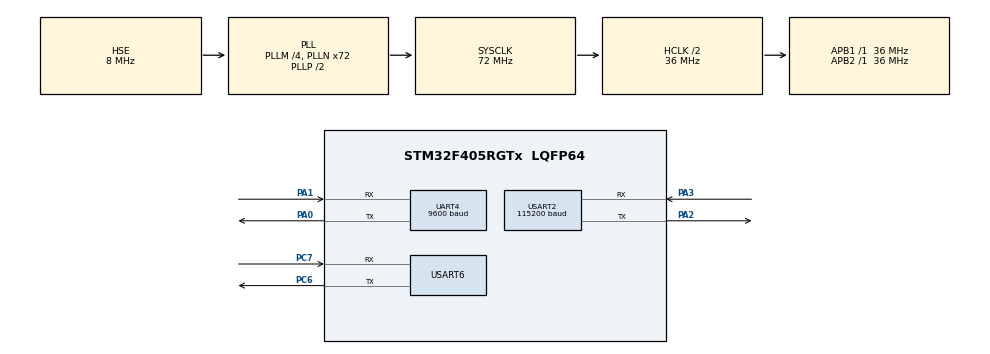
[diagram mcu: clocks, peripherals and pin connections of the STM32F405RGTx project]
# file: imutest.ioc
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FREERTOS.Tasks01=defaultTask,24,128,StartDefaultTask,Default,NULL,Dynamic,NULL,NULL;myTask02,8,256,MonitorTask02,As external,NULL,Dynamic,NULL,NULL
Mcu.Family=STM32F4
Mcu.Name=STM32F405RGTx
Mcu.Package=LQFP64
NVIC.PriorityGroup=NVIC_PRIORITYGROUP_4
NVIC.TIM5_IRQn=true\:6\:0\:true\:false\:true\:true\:true\:true\:true
NVIC.TIM7_IRQn=true\:15\:0\:false\:false\:true\:false\:false\:true\:true
NVIC.TimeBase=TIM7_IRQn
NVIC.TimeBaseIP=TIM7
NVIC.UART4_IRQn=true\:5\:0\:false\:false\:true\:true\:true\:true\:true
NVIC.USART2_IRQn=true\:5\:0\:true\:false\:true\:true\:true\:true\:true
NVIC.USART6_IRQn=true\:5\:0\:false\:false\:true\:true\:true\:true\:true
PA0-WKUP.Mode=Asynchronous
PA0-WKUP.Signal=UART4_TX
PA1.Mode=Asynchronous
PA1.Signal=UART4_RX
PA13.Mode=Serial_Wire
PA13.Signal=SYS_JTMS-SWDIO
PA14.Mode=Serial_Wire
PA14.Signal=SYS_JTCK-SWCLK
PA2.Mode=Asynchronous
PA2.Signal=USART2_TX
PA3.Mode=Asynchronous
PA3.Signal=USART2_RX
PC6.Mode=Asynchronous
PC6.Signal=USART6_TX
PC7.Mode=Asynchronous
PC7.Signal=USART6_RX
PH0-OSC_IN.Mode=HSE-External-Oscillator
PH0-OSC_IN.Signal=RCC_OSC_IN
PH1-OSC_OUT.Mode=HSE-External-Oscillator
PH1-OSC_OUT.Signal=RCC_OSC_OUT
ProjectManager.HeapSize=0x200
ProjectManager.StackSize=0x400
ProjectManager.TargetToolchain=MDK-ARM V5
RCC.48MHZClocksFreq_Value=36000000
RCC.AHBCLKDivider=RCC_SYSCLK_DIV2
RCC.AHBFreq_Value=36000000
RCC.APB1Freq_Value=36000000
RCC.APB1TimFreq_Value=36000000
RCC.APB2Freq_Value=36000000
RCC.APB2TimFreq_Value=36000000
RCC.CortexFreq_Value=36000000
RCC.HCLKFreq_Value=36000000
RCC.HSE_VALUE=8000000
RCC.HSI_VALUE=16000000
RCC.LSE_VALUE=32768
RCC.PLLM=4
RCC.PLLN=72
RCC.PLLSourceVirtual=RCC_PLLSOURCE_HSE
RCC.SYSCLKFreq_VALUE=72000000
RCC.SYSCLKSource=RCC_SYSCLKSOURCE_PLLCLK
RCC.VCOOutputFreq_Value=144000000
TIM5.AutoReloadPreload=TIM_AUTORELOAD_PRELOAD_ENABLE
TIM5.Period=4999
TIM5.Prescaler=35
TIM6.Prescaler=35
UART4.BaudRate=9600
UART4.VirtualMode=Asynchronous
USART2.BaudRate=115200
USART2.VirtualMode=VM_ASYNC
USART6.OverSampling=UART_OVERSAMPLING_8
USART6.VirtualMode=VM_ASYNC
VP_FREERTOS_VS_CMSIS_V2.Mode=CMSIS_V2
VP_SYS_VS_tim7.Mode=TIM7
VP_TIM5_VS_ClockSourceINT.Mode=Internal
VP_TIM6_VS_ClockSourceINT.Mode=Enable_Timer
board=custom

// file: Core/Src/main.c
/* USER CODE BEGIN Header */
/**
  ******************************************************************************
  * @file           : main.c
  * @brief          : Main program body
  ******************************************************************************
  * @attention
  *
  * Copyright (c) 2024 STMicroelectronics.
  * All rights reserved.
  *
  * This software is licensed under terms that can be found in the LICENSE file
  * in the root directory of this software component.
  * If no LICENSE file comes with this software, it is provided AS-IS.
  *
  ******************************************************************************
  */
/* USER CODE END Header */
#include "main.h"
#include "cmsis_os.h"
#include "tim.h"
#include "usart.h"
#include "gpio.h"

/* USER CODE BEGIN Includes */
#include "imu.h"
#include "parameter.h"
/* USER CODE END Includes */

void SystemClock_Config(void);
void MX_FREERTOS_Init(void);

/* USER CODE BEGIN 0 */
void myDelay(int ms)
{
	int starttime=uwTick;
	while(1)
	{
		if(uwTick-starttime>=ms)
		{
			return;
		}
	}
}
/* USER CODE END 0 */

int main(void)
{

  /* MCU Configuration--------------------------------------------------------*/

  /* Reset of all peripherals, Initializes the Flash interface and the Systick. */
  HAL_Init();

  /* Configure the system clock */
  SystemClock_Config();

  /* Initialize all configured peripherals */
  MX_GPIO_Init();
  MX_USART2_UART_Init();
  MX_TIM5_Init();
  MX_TIM6_Init();
  MX_USART6_UART_Init();
  MX_UART4_Init();
  /* USER CODE BEGIN 2 */
	uint8_t sb;
	HAL_UART_Receive_IT(&huart2,&sb,sizeof(sb));
	HAL_UART_Receive_IT(&huart6,&sb,sizeof(sb));
	HAL_TIM_Base_Start_IT(&htim5);
	HAL_TIM_Base_Start_IT(&htim6);
	float yaw = 0;
  /* USER CODE END 2 */

  /* Init scheduler */
  osKernelInitialize();

  /* Call init function for freertos objects (in cmsis_os2.c) */
  MX_FREERTOS_Init();

  /* Start scheduler */
  osKernelStart();

  /* We should never get here as control is now taken by the scheduler */

  /* Infinite loop */
  while (1)
  {

  }
}

void SystemClock_Config(void)
{
  RCC_OscInitTypeDef RCC_OscInitStruct = {0};
  RCC_ClkInitTypeDef RCC_ClkInitStruct = {0};

  /** Configure the main internal regulator output voltage
  */
  __HAL_RCC_PWR_CLK_ENABLE();
  __HAL_PWR_VOLTAGESCALING_CONFIG(PWR_REGULATOR_VOLTAGE_SCALE1);

  /** Initializes the RCC Oscillators according to the specified parameters
  * in the RCC_OscInitTypeDef structure.
  */
  RCC_OscInitStruct.OscillatorType = RCC_OSCILLATORTYPE_HSE;
  RCC_OscInitStruct.HSEState = RCC_HSE_ON;
  RCC_OscInitStruct.PLL.PLLState = RCC_PLL_ON;
  RCC_OscInitStruct.PLL.PLLSource = RCC_PLLSOURCE_HSE;
  RCC_OscInitStruct.PLL.PLLM = 4;
  RCC_OscInitStruct.PLL.PLLN = 72;
  RCC_OscInitStruct.PLL.PLLP = RCC_PLLP_DIV2;
  RCC_OscInitStruct.PLL.PLLQ = 4;
  if (HAL_RCC_OscConfig(&RCC_OscInitStruct) != HAL_OK)
  {
    Error_Handler();
  }

  /** Initializes the CPU, AHB and APB buses clocks
  */
  RCC_ClkInitStruct.ClockType = RCC_CLOCKTYPE_HCLK|RCC_CLOCKTYPE_SYSCLK
                              |RCC_CLOCKTYPE_PCLK1|RCC_CLOCKTYPE_PCLK2;
  RCC_ClkInitStruct.SYSCLKSource = RCC_SYSCLKSOURCE_PLLCLK;
  RCC_ClkInitStruct.AHBCLKDivider = RCC_SYSCLK_DIV2;
  RCC_ClkInitStruct.APB1CLKDivider = RCC_HCLK_DIV1;
  RCC_ClkInitStruct.APB2CLKDivider = RCC_HCLK_DIV1;

  if (HAL_RCC_ClockConfig(&RCC_ClkInitStruct, FLASH_LATENCY_1) != HAL_OK)
  {
    Error_Handler();
  }
}

void HAL_TIM_PeriodElapsedCallback(TIM_HandleTypeDef *htim)
{
  /* USER CODE BEGIN Callback 0 */
  if (htim->Instance == TIM5)
  {
		TTL_Hex2Dec();
	}
  /* USER CODE END Callback 0 */
  if (htim->Instance == TIM7) {
    HAL_IncTick();
  }
}

void Error_Handler(void)
{
  __disable_irq();
  while (1)
  {
  }
}

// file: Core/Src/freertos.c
/* USER CODE BEGIN Header */
/**
  ******************************************************************************
  * File Name          : freertos.c
  * Description        : Code for freertos applications
  ******************************************************************************
  * @attention
  *
  * Copyright (c) 2024 STMicroelectronics.
  * All rights reserved.
  *
  * This software is licensed under terms that can be found in the LICENSE file
  * in the root directory of this software component.
  * If no LICENSE file comes with this software, it is provided AS-IS.
  *
  ******************************************************************************
  */
/* USER CODE END Header */

#include "FreeRTOS.h"
#include "task.h"
#include "main.h"
#include "cmsis_os.h"

/* USER CODE BEGIN Includes */
#include "imu.h"
#include "parameter.h"
#include "ZY_VisualScope.h"
#include "VOFA.h"
/* USER CODE END Includes */

/* Definitions for defaultTask */
osThreadId_t defaultTaskHandle;
const osThreadAttr_t defaultTask_attributes = {
  .name = "defaultTask",
  .stack_size = 128 * 4,
  .priority = (osPriority_t) osPriorityNormal,
};
/* Definitions for myTask02 */
osThreadId_t myTask02Handle;
const osThreadAttr_t myTask02_attributes = {
  .name = "myTask02",
  .stack_size = 256 * 4,
  .priority = (osPriority_t) osPriorityLow,
};

void StartDefaultTask(void *argument);
extern void MonitorTask02(void *argument);

void MX_FREERTOS_Init(void); /* (MISRA C 2004 rule 8.1) */

void MX_FREERTOS_Init(void) {

  /* Create the thread(s) */
  /* creation of defaultTask */
  defaultTaskHandle = osThreadNew(StartDefaultTask, NULL, &defaultTask_attributes);

  /* creation of myTask02 */
  myTask02Handle = osThreadNew(MonitorTask02, NULL, &myTask02_attributes);

}

void StartDefaultTask(void *argument)
{
  for(;;)
  {
    osDelay(1);
  }
}

/* USER CODE BEGIN Application */
void MonitorTask02(void *argument)
{
  /* USER CODE BEGIN StartDefaultTask */
//  uint32_t lastWakeTime = getSysTickCnt();
	Imu_init(&Imu_data);

	ClearScreen();
  while(1)
  {
		JustFloat_send(Imu_data.Yaw_process,Imu_data.Yaw_Integral,AHRSData_Packet.RollSpeed,Imu_data.Yaw);
		vTaskDelay(5/portTICK_RATE_MS);//ѓʱ20ms
  }
  /* USER CODE END StartDefaultTask */
}
/* USER CODE END Application */
